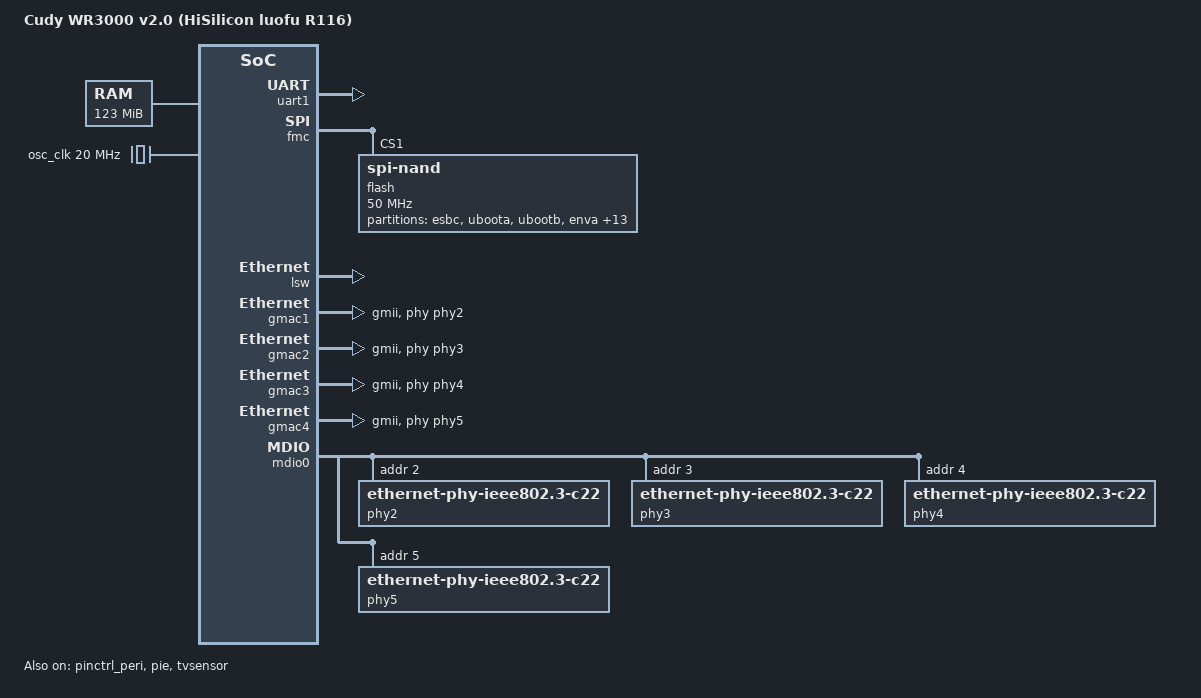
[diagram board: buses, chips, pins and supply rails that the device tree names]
// SPDX-License-Identifier: GPL-2.0-only
/*
 * luofu-r116.dts - DRAFT device tree for the Cudy WR3000 v2.0
 * (HiSilicon Hi5671Y "luofu", board R116).
 *
 * STATUS: UNTESTED / SCHEMATIC / NOT A WORKING TARGET.
 *
 * This file is a DRAFT derived from the tracked lab DTS
 * (tools/lab-src/arch/arm/boot/dts/luofu-r116.dts in the parent repository).
 * Every register base, interrupt number, clock/reset cell and partition below
 * is a lab-measured value (or an explicitly marked vendor-DT fact), not an
 * invented one. The board now has draft drivers and YAML bindings for the CRG
 * clock/reset controller, the watchdog, the FMC SPI-NAND controller, the
 * network trio (MDIO bus, Genius PHY, partial GEMAC) and machine restart
 * (patches-6.18/004-015); every other proposed binding still does not exist.
 * The GEMAC driver is a resource/validation half only - it has no data path -
 * so its nodes stay disabled, and the restart driver's reset command is
 * PROVISIONAL (see its node). Do not submit this file as-is.
 *
 * HOW TO READ THE MARKERS:
 *   TODO(binding)        a devicetree binding that must be written/agreed
 *                        before this node is submittable.
 *   TODO(driver)         code that must exist for the node to be meaningful.
 *   NEEDS-VERIFICATION   a value taken from the lab tree whose meaning is not
 *                        confirmed against the board/upstream binding.
 *   [U]                  "unverified/open" per TARGET-DESIGN.md reading legend.
 *
 * WHAT WAS DELIBERATELY CHANGED FROM THE LAB DTS:
 *   - the bench-only "lab" partition is gone; the stock 0x1d80000 "upgrade"
 *     size is restored (TARGET-DESIGN.md 3.3; vendor-dt-notes.md section 6);
 *   - bench breadcrumb/instrumentation comments and sysctrl writes are gone
 *     (TARGET-DESIGN.md 7.2);
 *   - vendor "hsan,*" compatibles are replaced with "hisilicon,luofu-*";
 *     the CRG and watchdog bindings are now written, the rest are still
 *     proposals with a binding TODO (TARGET-DESIGN.md 6.2);
 *   - the vendor iATU tables, acp-gate cells and other binary-derived props
 *     are not carried: they become driver init data (TARGET-DESIGN.md 6.2);
 *   - the vendor enable-method "hisilicon,hsan_smp" is removed: there is no
 *     mainline smp_ops yet, so this is an UP-only draft (TARGET-DESIGN.md 7.1);
 *   - clock/reset specifiers keep the lab shape (1-cell clock id, 2-cell
 *     (offset, bit) reset); the clock IDs now come from the dt-bindings
 *     header and the 2-cell reset form is documented in the CRG binding, with
 *     the named-reset-id table still a TODO (TARGET-DESIGN.md 6.2);
 *   - the 0x14880000 page is one syscon + simple-mfd system-controller node:
 *     the CRG driver owns the clock/reset providers and the watchdog is a
 *     child using the shared regmap, instead of two nodes claiming the same
 *     MMIO window (the old drift produced the duplicate-unit-address dtc
 *     warning and an -EBUSY probe in the lab tree).
 *
 * WHAT IS NOT HERE ON PURPOSE:
 *   - Wi-Fi (Hi5622V100): vendor-only, no open driver, out of the first
 *     submission scope (TARGET-DESIGN.md 8.3);
 *   - LEDs / keys: only overlay evidence exists; they need the standard
 *     gpio-leds/gpio-keys-polled bindings plus confirmed GPIO polarity
 *     (see the comment near the end of the root node);
 *   - sysctrl/sysenv boot-selector provider: the SYSCTRL syscon node from
 *     patch 010 plus the boot-selector driver/node from patch 017, which
 *     exposes the measured 0x10 (A) / 0x11 (B) cell through current_pair /
 *     next_pair sysfs and keeps probe free of register access. The rest of
 *     the protocol is still [U] (TARGET-DESIGN.md 3.4, 6.2, 7.1) and the
 *     vendor sysenv/nvmem interface is not modelled.  The only nvmem provider
 *     is the stock MTD partition provider over the bdinfo factory MAC
 *     (fixed-layout/mac-base cell; see the partition table and the GEMAC
 *     address plan below).
 *
 * Expected to parse after the C preprocessor + dtc, but it does NOT build in a
 * kernel tree (no headers, no machine match, no dtbs_check clean run) and it
 * has never been booted. Provenance of the facts: TARGET-DESIGN.md sections
 * 3 and 6, opensource/docs/soc/vendor-dt-notes.md, and the lab DTS itself.
 */

/dts-v1/;

/*
 * CRG clock IDs: the one-cell clock index ABI between this DTS and the CRG
 * clock provider (patches-6.18/004; binding
 * Documentation/devicetree/bindings/clock/hisilicon,luofu-crg.yaml). The
 * numbering is fixed by the dt-bindings header and the driver's gate table is
 * indexed by it; an index may never be renumbered or reused.
 *
 * The (register offset, bit) geometry that each ID names is driver data, not
 * DT data. It is listed here only as a review reference; the driver's table in
 * drivers/clk/hisilicon/crg-luofu.c is authoritative. The 0x14-group offsets
 * are verbatim from the pinned vendor tree; the 0x20-group offsets are
 * reconstructed from the vendor unit-address encoding and stay PROVISIONAL
 * until bench-confirmed (lab DTS header; clocks2.md caveat) - that is a driver
 * TODO, not a DT fact:
 *
 *   id  name         gate offset  bit
 *    0  sfc_clk      0x14         0x00
 *    1  gpio0_clk    0x14         0x14
 *    2  gpio1_clk    0x14         0x15
 *    3  i2c0_clk     0x14         0x18
 *    4  pcie0_clk    0x20         0x0c
 *    5  pcie1_clk    0x20         0x0d
 *    6  gemac_clk0   0x20         0x13
 *    7  led_pwm      0x14         0x0e
 *    8  lsw_dp_clk0  0x20         0x00
 *    9  lsw_pfe_clk0 0x20         0x01
 *   10  mdio_clk0    0x20         0x03
 *   11  gemac_clk1   0x20         0x14
 *   12  gemac_clk2   0x20         0x15
 *   13  gemac_clk3   0x20         0x16
 *   14  gemac_clk4   0x20         0x17
 *   15  pie_clk0     0x20         0x19
 *
 * Indices 16-19 are the CRG's own read-only PLL and mux outputs added by patch
 * 019 (LUOFU_CLK_PLL_CPU 16, LUOFU_CLK_PLL_LSW 17, LUOFU_CLK_CPU_MUX 18,
 * LUOFU_CLK_EFUSE_MUX 19). No node consumes them yet; they exist so a future
 * cpufreq or efuse-programming driver can reference the decoded clocks without
 * a second provider. This tree never writes a PLL or switches a mux.
 */
#include <dt-bindings/clock/hisilicon,luofu-crg.h>

/ {
	#address-cells = <1>;
	#size-cells = <1>;

	model = "Cudy WR3000 v2.0 (HiSilicon luofu R116)";

	/*
	 * TODO(compat): an upstream board compatible should carry a
	 * vendor,model string first (e.g. "cudy,wr3000-v2"). This draft keeps
	 * the lab strings because the final order interacts with OpenWrt's
	 * board_name/sysupgrade match (README "Open questions"). The stock
	 * loader passes its OWN DT to the kernel, so this string does not
	 * decide the stock-loader boot on this unit (TARGET-DESIGN.md 3.1);
	 * it does decide whether a future mainline kernel/machine matches.
	 */
	compatible = "hisilicon,luofu-r116", "hisilicon,luofu";
	interrupt-parent = <&gic>;

	aliases {
		/* physical console is uart1@1010f000 = ttyS0 (vendor-dt-notes.md 2) */
		serial0 = &uart1;
		serial1 = &uart0;
		/*
		 * TODO: the vendor tree also has aliases { console = <&uart1>; }.
		 * That property is not a standard alias; keep it out until the
		 * binding question is settled.
		 */
	};

	chosen {
		stdout-path = "serial0:115200n8";
		/*
		 * Kernel command line: the stock loader supplies NO bootargs for our
		 * uImage (first hardware boot, 2026-11-19: empty cmdline -> VFS root
		 * panic), and adding a DTB bootargs property crashed U-Boot itself
		 * (data abort before kernel hand-off). The root= string is therefore
		 * built into the kernel with CONFIG_CMDLINE_FORCE in
		 * target/linux/hisilicon/luofu/config-6.18; keep the two in sync.
		 * TODO(A/B): the hard-coded ubi.mtd=rootfsb must become per-slot
		 * (per-slot DTB or loader-supplied cmdline) before installing to A.
		 */
	};

	cpus {
		#address-cells = <1>;
		#size-cells = <0>;

		/*
		 * SMP release path, decoded from the vendor's private
		 * "hisilicon,hsan_smp" method (SYSCTRL pen word at 0xc00, CRG
		 * resume word at 0x38, then the wakeup IPI). TARGET-DESIGN.md
		 * 6.2 and 7.1; driver patches-6.18/018, evidence SMP-RE.md.
		 * A devicetree without this property boots UP.
		 */
		enable-method = "hisilicon,luofu-smp";

		cpu@0 {
			device_type = "cpu";
			compatible = "arm,cortex-a9";
			reg = <0>;
			/*
			 * TODO(driver): the vendor cpu@0 also carries clocks /
			 * cpu-supply / operating-points-v2 / nvmem-cells. Those
			 * need the CRG + efuse + pwm-regulator drivers/bindings;
			 * a fixed-rate CPU is acceptable for a first submission if
			 * documented (TARGET-DESIGN.md 6.2).
			 */
		};

		cpu@1 {
			device_type = "cpu";
			compatible = "arm,cortex-a9";
			reg = <1>;
		};
	};

	/*
	 * 128 MB DDR3 at 0x80500000 (vendor DT: reg = <0x80500000 0x7b00000>;
	 * 123 MB above the SoC window). NEEDS-VERIFICATION: the low 5 MB below
	 * 0x80500000 are the SoC/ACP view, not system DRAM (vendor-dt-notes.md 3).
	 */
	memory@80500000 {
		device_type = "memory";
		reg = <0x80500000 0x7b00000>;
	};

	/*
	 * TODO(reserved-memory): the vendor base DTB reserves a 16 KiB
	 * "flashinfo" window at 0x80600000 (the node name in the vendor tree
	 * says 0x80800000 - a stale name; the address is 0x80600000;
	 * phase42-decode/report.md section 2 and vendor-dt-notes.md 3).
	 * Whether the upstream kernel needs this reservation, and why the
	 * vendor U-Boot stages a bootram there, is [U]. Do not add a
	 * reserved-memory node until it is measured; an unneeded reserved
	 * region is a review finding, a missing one can corrupt firmware data.
	 */

	/* ---- fixed input clocks (free bindings) ------------------------- */

	osc_clk: fixed-clock-osc {
		compatible = "fixed-clock";
		#clock-cells = <0>;
		clock-frequency = <20000000>;	/* 20 MHz */
		clock-output-names = "osc";
	};

	ahb_clk: fixed-clock-ahb {
		compatible = "fixed-clock";
		#clock-cells = <0>;
		clock-frequency = <200000000>;	/* 200 MHz */
		clock-output-names = "ahb_clk";
	};

	apb_clk: fixed-clock-apb {
		compatible = "fixed-clock";
		#clock-cells = <0>;
		clock-frequency = <100000000>;	/* 100 MHz */
		clock-output-names = "apb_clk";
	};

	/*
	 * The four remaining fixed input clocks of the CRG tree, verbatim from
	 * the vendor devicetree fixed-clock nodes (pinned lines 955-961,
	 * 1090-1097 and 1108-1115). They are not programmable: gemacN_clk is
	 * the parent of the five GEMAC gate clocks and the MDIO gate,
	 * lsw_dp_clk/lsw_pfe_clk parent the internal-switch gate clocks, and
	 * efuse_ring_clk is one input of the efuse mux (the other is osc).
	 */
	gemacn_clk: fixed-clock-gemacn {
		compatible = "fixed-clock";
		#clock-cells = <0>;
		clock-frequency = <125000000>;	/* 125 MHz */
		clock-output-names = "gemacN_clk";
	};

	lsw_dp_clk: fixed-clock-lsw-dp {
		compatible = "fixed-clock";
		#clock-cells = <0>;
		clock-frequency = <166000000>;	/* 166 MHz */
		clock-output-names = "lsw_dp_clk";
	};

	lsw_pfe_clk: fixed-clock-lsw-pfe {
		compatible = "fixed-clock";
		#clock-cells = <0>;
		clock-frequency = <333000000>;	/* 333 MHz */
		clock-output-names = "lsw_pfe_clk";
	};

	efuse_ring_clk: fixed-clock-efuse-ring {
		compatible = "fixed-clock";
		#clock-cells = <0>;
		clock-frequency = <20000000>;	/* 20 MHz */
		clock-output-names = "efuse_ring_clk";
	};

	corrector_clk: fixed-clock-corrector {
		compatible = "fixed-clock";
		#clock-cells = <0>;
		clock-frequency = <1000000000>;	/* 1 GHz */
		clock-output-names = "corrector_clk";
	};

	twd_clk: twd-clock {
		compatible = "fixed-factor-clock";
		#clock-cells = <0>;
		clocks = <&corrector_clk>;
		clock-div = <4>;	/* 1 GHz / 4 = 250 MHz */
		clock-mult = <1>;
		clock-output-names = "twd_clk";
	};

	/* ---- SYSCTRL: boot selector + reset info (shared page) ---------- */

	/*
	 * The SYSCTRL page at 0x10100000 carries SoC-level control registers
	 * shared between functions. Only the minimum the written drivers need is
	 * modelled: the A/B boot-selector cell at 0xc08 that the stock loader
	 * reads on the next boot (the reboot driver saves it before a reset) and
	 * the reset-info record at 0xc10. The page must be a syscon so the reboot
	 * and boot-selector drivers share one mapping (TARGET-DESIGN.md 3.4,
	 * 6.2).
	 * Binding: Documentation/devicetree/bindings/soc/hisilicon/
	 *          hisilicon,luofu-sysctrl.yaml
	 * TODO(nvmem): the reset-info record has no reader yet; the boot-selector
	 * cell is exposed by the separate luofu-boot-selector node below.
	 */
	sysctrl: system-controller@10100000 {
		compatible = "hisilicon,luofu-sysctrl", "syscon";
		reg = <0x10100000 0x1000>;
	};

	/*
	 * Machine restart: saves the SYSCTRL A/B boot selector, issues the CRG
	 * software-reset command and falls back to the CRG watchdog if the reset
	 * does not take. Both target pages are shared, so the node only
	 * references the syscon nodes and has no reg.
	 * Binding: Documentation/devicetree/bindings/power/reset/
	 *          hisilicon,luofu-reboot.yaml
	 * PROVISIONAL: the CRG reset command pair (vendor softrst_val0/val1 at
	 * reboot-offset 0x00) is derived from the vendor devicetree and has never
	 * been run on hardware; the boot-selector encoding is measured. See
	 * patches-6.18/010 and docs/incoming/restart/SUMMARY.md.
	 */
	reboot {
		compatible = "hisilicon,luofu-reboot";
		hisilicon,sysctrl = <&sysctrl>;
		hisilicon,crg = <&crg>;
	};

	/*
	 * A/B boot selector: the SYSCTRL cell at 0xc08 that records the firmware
	 * pair. The bootloader selects the pair from its env bootflag (bootcmd
	 * reads kernel${bootflag}); its bootfip stores the opposite pair's low byte
	 * before Linux starts and userspace re-records the running pair after a
	 * successful boot. 0x10 = A pair recorded (kernela + rootfsa), 0x11 = B
	 * pair recorded (kernelb + rootfsb); 0x21 is the project's bench handover
	 * value (never written by vendor userspace) and is only reported, never
	 * written by the automated install path.
	 * Binding: Documentation/devicetree/bindings/soc/hisilicon/
	 *          hisilicon,luofu-boot-selector.yaml
	 * Probe performs no register access; the driver writes the cell only when
	 * userspace stores into next_pair, as a low-byte read-modify-write that
	 * preserves the upper 24 bits and verifies the read-back.
	 * Enabled because the A/B sysupgrade path (base-files/lib/upgrade/platform.sh)
	 * requires it; harmless on a boot
	 * that never touches the selector.
	 */
	boot-selector {
		compatible = "hisilicon,luofu-boot-selector";
		hisilicon,sysctrl = <&sysctrl>;
		hisilicon,selector-offset = <0x0c08>;
	};

	/* ---- CRG: clock gates + reset controller (shared page) --------- */

	/*
	 * The CRG (Clock Reset Generator) page at 0x14880000 carries the clock
	 * gate bits (0x14/0x20), the reset bits (0x2c/0x30/0x34) AND the
	 * watchdog registers (0x50/0x64/0x70/0x100) interleaved in ONE 4 KiB
	 * window, so no single driver can claim the window exclusively. The
	 * page is therefore modelled as a syscon + simple-mfd system
	 * controller:
	 *
	 *   - the CRG driver (patches-6.18/004; binding
	 *     Documentation/devicetree/bindings/clock/hisilicon,luofu-crg.yaml)
	 *     owns the clock-gate and reset providers;
	 *   - the watchdog child below (patches-6.18/005; binding
	 *     Documentation/devicetree/bindings/watchdog/hisilicon,luofu-wdt.yaml)
	 *     uses the same syscon regmap, so neither driver maps or claims the
	 *     page a second time. This is the upstream shape for interleaved
	 *     functions; the old two-node draft produced a duplicate-unit-
	 *     address dtc warning and, on the lab kernel, an -EBUSY probe that
	 *     was worked around with a bare devm_ioremap().
	 *
	 * Clock cells: one cell, the LUOFU_CLK_* index from the dt-bindings
	 * header (included above); the gate geometry is driver data.
	 *
	 * Clock tree (patch 019): the node's clocks/clock-names below describe the
	 * real parents the CRG driver wires, decoded from the vendor devicetree
	 * (MISC-SOC-BLOCKS.md 5.2): the 16 gates fan out from apb_clk, ahb_clk,
	 * gemacN_clk, lsw_dp_clk and lsw_pfe_clk; the two PLLs (control words at
	 * 0x198 and 0x1e0, status word 0x90) run from osc; the two muxes in
	 * 0x138 select the CPU PLL/lsw PLL (bit 3) and efuse_ring/osc (bit 1).
	 * The driver resolves these by name, it does not guess global clock names.
	 * The PLLs and muxes are READ-ONLY clocks in patch 019: recalc_rate plus
	 * the 0x90 status bit for the PLLs, get_parent for the muxes; there is no
	 * set_rate/set_parent. 0x138 bit 3 selects the CPU clock source and must
	 * never become writable; 0x138 bit 1 is only ever flipped by an efuse
	 * programming path, which this tree does not have.
	 *
	 * Reset cells: two cells, (CRG page register offset, bit). The driver
	 * restricts the offset to the three reset words so a specifier can never
	 * write the watchdog, soft-reset, mux or PLL words.
	 * TODO(reset-ids): replacing the raw (offset, bit) cells with a named
	 * reset-ID table is the next submission cleanup (TARGET-DESIGN.md 6.2);
	 * the cell form is documented in the binding, not invented.
	 * TODO(restart): the reset command is the CRG reboot register at 0x00
	 * (vendor reboot-offset; softrst_val0/1), not the 0x84 soft-reset word.
	 * Patch 010 implements it PROVISIONALLY in the hisilicon,luofu-reboot
	 * driver together with the SYSCTRL boot-selector save; the exact write
	 * order and whether the pair belongs in one register or two adjacent
	 * ones are unverified (TARGET-DESIGN.md 3.4, 6.2).
	 */
	crg: system-controller@14880000 {
		compatible = "hisilicon,luofu-crg", "syscon", "simple-mfd";
		reg = <0x14880000 0x1000>;
		#clock-cells = <1>;
		#reset-cells = <2>;
		clocks = <&osc_clk>, <&ahb_clk>, <&apb_clk>, <&gemacn_clk>,
			 <&lsw_dp_clk>, <&lsw_pfe_clk>, <&efuse_ring_clk>;
		clock-names = "osc", "ahb", "apb", "gemacN", "lsw_dp",
			      "lsw_pfe", "efuse_ring";

		/*
		 * Watchdog: no reg and no interrupt. Its registers are
		 * interleaved into the parent page, so it uses the parent syscon
		 * regmap (the binding requires this parent-child relationship).
		 * timeout-sec is the vendor's 30 s; the 1..512 s limits are
		 * driver data. The block does have an interrupt output at SPI 2
		 * in the vendor tree, but its status semantics are unverified,
		 * so the driver is polled and the node claims no interrupt - do
		 * not add one "because the vendor DT has it".
		 * TODO(hardware): whether the bootloader leaves the watchdog
		 * running is not established (the enable state is a magic value
		 * pair, not a status bit), so the driver cannot set
		 * WDOG_HW_RUNNING at probe; measure before relying on it.
		 */
		watchdog {
			compatible = "hisilicon,luofu-wdt";
			timeout-sec = <30>;
			status = "okay";
		};
	};

	/* ---- standard ARM peripherals (free bindings) ------------------ */

	gic: interrupt-controller@10181000 {
		compatible = "arm,cortex-a9-gic";
		#interrupt-cells = <3>;
		interrupt-controller;
		reg = <0x10181000 0x1000>,	/* distributor */
		      <0x10180100 0x100>;	/* CPU interface */
	};

	scu@10180000 {
		compatible = "arm,cortex-a9-scu";
		reg = <0x10180000 0x1000>;
	};

	/*
	 * NEEDS-VERIFICATION: the lab DTS carries vendor l2c_aux_val = 0x430001,
	 * l2c_aux_mask = 0xffb0fffe and cache-way-size-sel = 1 as vendor DT
	 * props. In mainline these become the machine descriptor's
	 * l2c_aux_val/l2c_aux_mask (arch/arm/kernel/irq.c only calls
	 * l2x0_of_init() when one is non-zero) and the AUX fields are derived
	 * from arm,tag-latency / arm,data-latency - translate before adding any
	 * latency property here.
	 */
	L2: l2-cache@7f000000 {
		compatible = "arm,pl310-cache";
		reg = <0x7f000000 0x1000>;
		cache-level = <2>;
		cache-unified;
	};

	local_timer: local-timer@10180600 {
		compatible = "arm,cortex-a9-twd-timer";
		reg = <0x10180600 0x20>;
		interrupts = <1 13 0x301>;	/* PPI 13 (mainline encoding) */
		clocks = <&twd_clk>;
	};

	/*
	 * Cortex-A9 has no ARM architected timer; the TWD above is the per-CPU
	 * timer source. There is no arm,armv7-timer node on this SoC.
	 */

	/*
	 * NEEDS-VERIFICATION: the vendor value is <1 0x2f 4> (cell 0x2f = 47),
	 * but mainline GIC PPI cells are 0..15 (Linux maps them to INTIDs
	 * 16+n). Do not trust this as a PPI 47; re-derive it from the vendor
	 * driver or the schematic before the node is used. It only matters if
	 * the SP804 is kept as a timer source; the board uses the TWD.
	 */
	timer@10104000 {
		compatible = "arm,sp804";
		reg = <0x10104000 0x1000>;
		interrupts = <1 0x2f 4>;
		clocks = <&apb_clk>;
	};

	/* ---- DesignWare peripherals (free bindings) -------------------- */

	uart0: serial@1010e000 {
		compatible = "snps,dw-apb-uart";
		reg = <0x1010e000 0x1000>;
		reg-shift = <2>;
		interrupts = <0 0x2d 4>;	/* SPI 45 in the vendor numbering */
		clocks = <&apb_clk>;
		clock-names = "apb_pclk";
		status = "disabled";
	};

	uart1: serial@1010f000 {
		compatible = "snps,dw-apb-uart";
		reg = <0x1010f000 0x1000>;
		reg-shift = <2>;
		interrupts = <0 0x2e 4>;	/* SPI 46 */
		clocks = <&apb_clk>;
		clock-names = "apb_pclk";
		status = "okay";		/* physical console ttyS0 */
	};

	gpio0: gpio@10106000 {
		compatible = "snps,dw-apb-gpio";
		#address-cells = <1>;
		#size-cells = <0>;
		reg = <0x10106000 0x1000>;
		clocks = <&crg LUOFU_CLK_GPIO0>;
		/*
		 * TODO(reset-binding): vendor cells (0x2c, 0x14); the reset
		 * provider shape is not agreed yet.
		 */

		porta: gpio-port@0 {
			compatible = "snps,dw-apb-gpio-port";
			gpio-controller;
			#gpio-cells = <2>;
			interrupt-controller;
			#interrupt-cells = <2>;
			interrupt-parent = <&gic>;
			interrupts = <0 0x31 4>;	/* SPI 49 */
			reg = <0>;
			snps,nr-gpios = <32>;
		};
	};

	gpio1: gpio@10107000 {
		compatible = "snps,dw-apb-gpio";
		#address-cells = <1>;
		#size-cells = <0>;
		reg = <0x10107000 0x1000>;
		clocks = <&crg LUOFU_CLK_GPIO1>;
		/* TODO(reset-binding): vendor cells (0x2c, 0x15) */

		portb: gpio-port@0 {
			compatible = "snps,dw-apb-gpio-port";
			gpio-controller;
			#gpio-cells = <2>;
			interrupt-controller;
			#interrupt-cells = <2>;
			interrupt-parent = <&gic>;
			interrupts = <0 0x32 4>;	/* SPI 50 */
			reg = <0>;
			snps,nr-gpios = <5>;
		};
	};

	i2c0: i2c@10111000 {
		compatible = "snps,designware-i2c";
		reg = <0x10111000 0x1000>;
		interrupts = <0 0x2c 4>;	/* SPI 44 */
		clocks = <&crg LUOFU_CLK_I2C0>;
		clock-frequency = <100000>;
		/* TODO(reset-binding): vendor cells (0x2c, 0x18) */
		status = "disabled";
	};

	/* ---- vendor-specific blocks: placeholders, no binding ---------- */

	/*
	 * Peripheral pinctrl + IOMUX. Binding:
	 * Documentation/devicetree/bindings/pinctrl/hisilicon,luofu-pinctrl.yaml
	 * and driver drivers/pinctrl/hisilicon/pinctrl-luofu.c (patch 011).
	 * The block owns the mux window (the function-select bits of all pins)
	 * and the per-pin configuration window. The tables (37 pins / 24 groups
	 * / 24 functions) are the ones the vendor pin controller uses; enabling
	 * this block was required for the wired path to behave, and a disabled
	 * node here does NOT mean the hardware does not need it.
	 *
	 * Probe performs no register access: the vendor's probe-time pin state
	 * is not known and the bootloader has already configured the pins, so a
	 * pin state is only programmed when a consumer requests one through the
	 * standard pinctrl interface.
	 * TODO(consumers): no pinctrl state is attached to any device node yet.
	 * The vendor devicetree attaches none to its device nodes either (its
	 * state nodes are looked up by name from its modules), and which groups
	 * the MDIO/GEMAC/FMC/UART nodes must select is unverified; do not add
	 * consumer states before that is established. The transcribed mux table
	 * does contain the mdio1 (pins 10/11) and rgmii0 (pins 12-23) functions
	 * that the wired path needs.
	 * TODO(pinconf): the six pin configuration parameters the block
	 * implements are supported by the driver, but no state uses the generic
	 * pin configuration properties yet and the drive-strength field has no
	 * known mA mapping.
	 */
	pinctrl_peri: pinctrl@14900100 {
		compatible = "hisilicon,luofu-pinctrl";
		reg = <0x14900100 0x3c>,	/* mux window */
		      <0x14940000 0x100>;	/* cfg window */
		reg-names = "mux", "cfg";
		status = "okay";
	};

	/*
	 * FMC / SPI-NAND controller. The controller is a SPI-MEM controller
	 * (TARGET-DESIGN.md 6.2; opensource/docs/phase50/nand-fmc-port-spec.md
	 * section (f)), so this node is a SPI bus and the flash die is its
	 * spi-nand child. The mainline SPI-NAND stack then owns chip detection,
	 * on-die ECC, OOB layout, bad-block handling and the partition table;
	 * the controller driver is patches-6.18/006 (drivers/spi/spi-luofu-fmc.c).
	 * The binding replaces the lab driver's vendor props:
	 *   - bus_id = "fmc"      -> nothing (the node and its binding);
	 *   - spi_cs = <1>        -> the child's reg = <1>;
	 *   - enable-quad-mode    -> spi-tx/rx-bus-width = <4>. The die's quad
	 *                           enable bit is set by the bootloader, which
	 *                           reads this flash in quad mode; the mainline
	 *                           ESMT entry has no QE quirk, so a die reset
	 *                           performed by Linux is a bring-up question.
	 * Facts kept: register file at 0x10a20000 + 1 MiB data window at
	 * 0x1c000000, chip-select 1, quad mode, 2048-byte pages / 64-byte OOB /
	 * 128 KiB erase blocks (TARGET-DESIGN.md 2). The sfc_clk gate is the
	 * LUOFU_CLK_SFC ID from patch 004; sfc_rst is the CRG two-cell reset
	 * specifier (offset 0x2c, bit 0), which the CRG binding and driver
	 * range-check to the reset words.
	 * TODO(hw): spi-max-frequency is informational only - the driver does not
	 * program the SPI clock and the bootloader leaves the FMC timing
	 * registers configured; the value is a conservative placeholder.
	 * TODO(hw): the FMC ECC engine semantics (host ECC vs on-die
	 * pass-through), the OOB bytes the DMA engine returns, and whether a
	 * Linux die reset clears the die's quad-enable bit are unverified; see
	 * docs/port-notes/fmc/SUMMARY.md.
	 */
	fmc: spi@10a20000 {
		compatible = "hisilicon,luofu-fmc";
		reg = <0x10a20000 0x1000>,	/* register file */
		      <0x1c000000 0x100000>;	/* memory-mapped data window */
		reg-names = "regs", "window";
		clocks = <&crg LUOFU_CLK_SFC>;
		clock-names = "sfc_clk";
		resets = <&crg 0x2c 0x0>;	/* sfc_rst: CRG 0x2c bit 0 */
		reset-names = "sfc_rst";
		#address-cells = <1>;
		#size-cells = <0>;
		status = "okay";

		flash@1 {
			compatible = "spi-nand";
			reg = <1>;			/* chip-select 1 */
			spi-max-frequency = <50000000>;	/* TODO(hw): informational */
			spi-tx-bus-width = <4>;
			spi-rx-bus-width = <4>;

			/*
			 * Stock 17-partition A/B table, verbatim from the vendor base
			 * DTB (vendor-dt-notes.md 6). Total NAND 0x8000000 = 128 MB.
			 * The lab "lab" partition is deliberately NOT here; the vendor
			 * upgrade partition keeps its stock 0x1d80000 size
			 * (TARGET-DESIGN.md 3.3).
			 * TODO(binding): review "read-only" flags for partitions OpenWrt
			 * must never write; the env partitions are written by the
			 * measured slot switch, so they are not read-only in this draft.
			 * TODO(binding): enva/envb are the U-Boot environment blocks; the
			 * u-boot,env representation and its format compatibility are [U]
			 * (TARGET-DESIGN.md 6.2).
			 */
			partitions {
				compatible = "fixed-partitions";
				#address-cells = <1>;
				#size-cells = <1>;

				partition@0	{ label = "esbc";	reg = <0x0 0x40000>; };
				partition@40000	{ label = "uboota";	reg = <0x40000 0x100000>; };
				partition@140000 { label = "ubootb";	reg = <0x140000 0x100000>; };
				partition@240000 { label = "enva";	reg = <0x240000 0x40000>; };
				partition@280000 { label = "envb";	reg = <0x280000 0x40000>; };
				partition@2c0000 { label = "fac";	reg = <0x2c0000 0x200000>; };
				/*
				 * bdinfo: encrypted vendor key/value text (container header at
				 * +0, encrypted text from +4) plus the one plaintext factory-MAC
				 * copy at +0xde00, last non-0xff byte +0xde05
				 * (MISC-SOC-BLOCKS.md 1.1; values withheld).  The partition is
				 * read-only in this target: nothing writes factory data, and both
				 * readers are read-only (userspace luofu-mac.sh and the kernel
				 * nvmem cell below).
				 *
				 * The nvmem layout is the fixed-layout/mac-base pair, so no
				 * target-local driver is needed:
				 *   - vanilla 6.18.60 already registers an nvmem provider for
				 *     every MTD device (mtd_nvmem_add() in
				 *     drivers/mtd/mtdcore.c: read-only and root-only by
				 *     construction, reg_read -> mtd_read) and parses the
				 *     nvmem-layout container (#nvmem-cell-cells via
				 *     of_nvmem_cell_get);
				 *   - the mac-base cell arithmetic (index -> eth_addr_add())
				 *     reaches this 6.18 tree through OpenWrt's generic
				 *     carried backports of upstream commits
				 *     (target/linux/generic/pending-6.18/
				 *     804-nvmem-core-support-mac-base-fixed-layout-cells.patch
				 *     and 809-01-nvmem-core-generalize-mac-base-cells-handling
				 *     .patch).  Without them the cell would read raw bytes and
				 *     the per-port offset would not be applied.
				 * A consumer writes nvmem-cells = <&bdinfo_mac N> and gets
				 * base+N.  If this partition node is absent from a DTB, the
				 * phandle does not resolve: of_get_mac_address() then reports
				 * -ENOENT and the GEMAC driver falls back to a logged random
				 * address, so no consumer ever invents factory data.
				 */
				partition@4c0000 {
					label = "bdinfo";
					reg = <0x4c0000 0x40000>;
					read-only;

					nvmem-layout {
						compatible = "fixed-layout";
						#address-cells = <1>;
						#size-cells = <1>;

						bdinfo_mac: mac@de00 {
							compatible = "mac-base";
							reg = <0xde00 0x6>;
							#nvmem-cell-cells = <1>;
						};
					};
				};
				partition@500000 { label = "cfga";	reg = <0x500000 0x200000>; };
				partition@700000 { label = "cfgb";	reg = <0x700000 0x200000>; };
				partition@900000 { label = "log";	reg = <0x900000 0x440000>; };
				partition@d40000 { label = "pstore";	reg = <0xd40000 0x40000>; };
				partition@d80000 { label = "kernela";	reg = <0xd80000 0x840000>; };
				partition@15c0000 { label = "kernelb";	reg = <0x15c0000 0x840000>; };
				partition@1e00000 { label = "rootfsa";	reg = <0x1e00000 0x1740000>; };
				partition@3540000 { label = "rootfsb";	reg = <0x3540000 0x1740000>; };
				partition@4c80000 { label = "rootfs_data"; reg = <0x4c80000 0x1600000>; };
				partition@6280000 { label = "upgrade";	reg = <0x6280000 0x1d80000>; };
			};
		};
	};

	/*
	 * Internal LSW switch: binding
	 * Documentation/devicetree/bindings/net/hisilicon,luofu-switch.yaml
	 * (patches 016/021). One switch with 15 MMIO windows - the five
	 * queue-manager windows (dp/ips/fam/eqm/eps) and the ten
	 * classifier/forwarding windows (prbs/pfe_glb/pa/ifc/l2/napt/mcc/opp/
	 * pub/pe) that the vendor tree describes as two separate nodes - plus the
	 * two DDR regions the engine consumes:
	 *
	 *   queue  0x80000000  4 MiB
	 *   flow   0x80400000  1 MiB
	 *
	 * Those two bases are the measured live post-loader-fixup values
	 * (read-only inventory 2026-11-18, LSW-SPEC.md 5.4); the vendor base DT
	 * says 0x87b00000/0x87f00000 and its U-Boot overlay rebases them.  Our
	 * loader-match overlay is a no-op, so this base DTB has to carry the final
	 * values itself.  The regions lie below the kernel memory node
	 * (0x80500000), so Linux never maps them as RAM; the driver validates the
	 * base/size and never ioremaps them.  The layout inside the regions is
	 * unknown.
	 *
	 * The in-tree driver (patches 021/022) has two paths.  By default it is
	 * the READ-ONLY baseline probe: it validates these resources, the port
	 * model, the two CRG port_bitmap cells and - only when the block is
	 * already clocked and out of reset - the measured register baseline and
	 * the two qid maps, then refuses (-EOPNOTSUPP) without writing anything.
	 * With the explicit attended luofu_lsw.arm=1 (W3: enable the two gate
	 * clocks and release the four resets, then read) and
	 * luofu_lsw.qidmap=1 (W4/W5: program and verify the D1b W2 qid-map write
	 * set) module parameters it programs the egress map that the GEMAC
	 * front end requires before it registers a netdev.  Neither write has
	 * ever run on hardware; the node is enabled so an attended boot can
	 * reach the gates, and a normal boot stops in the read-only path.  An
	 * access to an unknown register in this block can cut the CPU/console
	 * path on a board with no validated restart, which is why every write is
	 * gated and limited to the reviewed W2 write set.
	 *
	 * The port children are the switchdev model (not DSA): each wired port is
	 * a netdev owned by its GEMAC node and the switch port names it with the
	 * "ethernet" phandle.  The port index (reg) is a devicetree ordering index
	 * only; the measured hardware port number is given by "hisilicon,port"
	 * (the vendor devicetree's GEMAC port cells: 9..12 for the four live
	 * MACs) and the driver validates it against the populated qid rows.  The
	 * GEMAC<->PHY mapping is the measured one (14380000 -> phy2/eth0,
	 * 14400000 -> phy3/eth1, 14480000 -> phy4/eth2 (the bench cable port),
	 * 14500000 -> phy5/eth3).  gmac0 is unused by the vendor and is not a
	 * switch port here.
	 */
	lsw: ethernet-switch@11000000 {
		compatible = "hisilicon,luofu-switch";
		reg = <0x80000000 0x400000>,	/* queue: DDR, validated not mapped */
		      <0x80400000 0x100000>,	/* flow: DDR, validated not mapped */
		      <0x11000000 0x80000>,	/* dp */
		      <0x11080000 0x80000>,	/* ips */
		      <0x11100000 0x80000>,	/* fam */
		      <0x11180000 0x80000>,	/* pe */
		      <0x11200000 0x80000>,	/* eqm */
		      <0x11280000 0x80000>,	/* eps */
		      <0x11380000 0x80000>,	/* prbs */
		      <0x12000000 0x80000>,	/* pfe_glb */
		      <0x12080000 0x80000>,	/* pa */
		      <0x12100000 0x80000>,	/* ifc */
		      <0x12180000 0x80000>,	/* l2 */
		      <0x12280000 0x80000>,	/* napt */
		      <0x12380000 0x80000>,	/* mcc */
		      <0x12400000 0x80000>,	/* opp */
		      <0x12480000 0x80000>;	/* pub */
		reg-names = "queue", "flow", "dp", "ips", "fam", "pe", "eqm",
			    "eps", "prbs", "pfe_glb", "pa", "ifc", "l2", "napt",
			    "mcc", "opp", "pub";
		clocks = <&crg LUOFU_CLK_LSW_DP>, <&crg LUOFU_CLK_LSW_PFE>;
		clock-names = "lsw_dp_clk", "lsw_pfe_clk";
		resets = <&crg 0x30 0x0>, <&crg 0x30 0x1>,
			 <&crg 0x30 0x3>, <&crg 0x30 0x4>;
		reset-names = "dp_logic", "dp_srst", "pfe_logic", "pfe_srst";
		hisilicon,crg = <&crg>;
		/* measured live value, vendor cell order; semantics unknown */
		hisilicon,port-bitmap = <0xf01 0x1ff0>;
		status = "okay";

		ethernet-ports {
			#address-cells = <1>;
			#size-cells = <0>;

			ethernet-port@0 {
				reg = <0>;		/* ordering index, not a hw id */
				hisilicon,port = <9>;	/* measured MAC port */
				ethernet = <&gmac1>;	/* eth0 */
			};

			ethernet-port@1 {
				reg = <1>;
				hisilicon,port = <10>;
				ethernet = <&gmac2>;	/* eth1 */
			};

			ethernet-port@2 {
				reg = <2>;
				hisilicon,port = <11>;
				ethernet = <&gmac3>;	/* eth2, the bench cable port */
			};

			ethernet-port@3 {
				reg = <3>;
				hisilicon,port = <12>;
				ethernet = <&gmac4>;	/* eth3 */
			};
		};
	};

	lsw_woe: woe {
		compatible = "hisilicon,luofu-lsw-woe";	/* TODO(binding) */
		dma-coherent;
		interrupts = <0 0x54 4>,	/* SPI 84 (vendor numbering) */
			     <0 0x53 4>,	/* SPI 83 */
			     <0 0x52 4>,	/* SPI 82 */
			     <0 0x51 4>,	/* SPI 81 */
			     <0 0x50 4>;	/* SPI 80 */
		interrupt-names = "band0_comp_irq", "band1_comp_irq",
				  "band2_comp_irq", "band0_txba", "band1_txba";
		status = "disabled";
	};

	/*
	 * PIE packet engine: binding
	 * Documentation/devicetree/bindings/net/hisilicon,luofu-pie.yaml
	 * (patch 015, extended by patch 020). The in-tree driver is a DRAFT
	 * ring engine: the register/channel model was measured by the
	 * 2026-11-18 read-only inventory and the coherent rings, channel
	 * initialization, interrupt/NAPI receive path and TX producer are
	 * implemented, but the RX completion decode is still unknown and the
	 * engine is only started by an explicit "luofu_pie.arm=1" opt-in.  The
	 * node is enabled so the attended boot can reach that gate; a normal
	 * boot validates the resources and refuses without touching the block.
	 * The first write to this block is a bench event, and the board has no
	 * validated restart path.  The GEMAC netdev front end (patch 023) only
	 * registers when this engine is armed and the switch egress map is
	 * ready.
	 *
	 * The four interrupts are the four recovered per-vector lines; each
	 * vector serves the channel pair named by interrupt-names (channels
	 * 4-7 are the Wi-Fi offload half and are not wired into this driver).
	 * The ring tables are the measured live board configuration: two RX
	 * channels of log2(256) descriptors with 1536-byte buffers and two TX
	 * channels of log2(4096) descriptors (2026-11-18 follow-up readback of
	 * the vendor's post-overlay node).
	 */
	pie: pie@10a70000 {
		compatible = "hisilicon,luofu-pie";
		reg = <0x10a70000 0x10000>;
		interrupts = <0 0x58 4>, <0 0x59 4>, <0 0x5a 4>, <0 0x5b 4>;
		interrupt-names = "ch0-7", "ch1-6", "ch2-5", "ch3-4";
		clocks = <&crg LUOFU_CLK_PIE>;
		resets = <&crg 0x30 0x19>;
		dma-coherent;
		hisilicon,rx-ring = <0x8 0x600 0x8 0x600>;
		hisilicon,tx-ring = <0xc 0x2>;
		status = "okay";
	};

	/* ---- Ethernet: five gigabit MACs + MDIO + internal switch -------- */

	/*
	 * GEMAC: binding
	 * Documentation/devicetree/bindings/net/hisilicon,luofu-gmac.yaml
	 * (patch 009, netdev/phylink glue added by patch 020, connectivity
	 * readiness added by patch 023). The in-tree driver is a DRAFT: the
	 * MAC owns the net_device and phylink front end (PHYLINK_NETDEV, so
	 * the phylink resolve work drives the carrier) and forwards its
	 * transmit path to the PIE packet engine.  It only registers a netdev
	 * after the PIE backend has armed its data path AND the internal switch
	 * has programmed and verified its egress qid map (patch 022); a debug
	 * boot without those parameters logs the refusal and registers
	 * nothing.  Only the measured 1 Gbps link-up/link-down MAC words are
	 * written (TARGET-DESIGN.md 7.1) and the netdev address comes from the
	 * standard MAC-address properties or a random fallback.
	 * The bind keeps the lab shape plus the two CRG reset lines.
	 * NEEDS-VERIFICATION: the gmac0..4 -> mdio phy mapping below is the
	 * vendor runtime mapping (14380000 -> mdio addr 2, 14400000 -> 3,
	 * 14480000 -> 4 (the wired jack on the bench unit), 14500000 -> 5;
	 * TARGET-DESIGN.md 6.2). The vendor does not use gmac0 at all; do not
	 * enable it (a second MAC on phy2 would be wrong).
	 *
	 * MAC address plan (per-port offsets).  The factory base MAC is the
	 * plaintext 6-byte copy at bdinfo+0xde00, exposed by the mac-base nvmem
	 * cell in the bdinfo partition as base+<cell argument>.  The vendor rule
	 * is LAN = base MAC and WAN = base+1 (rootfs-2.4.15/etc/board.d/
	 * 02_network:25-29; uci-defaults/99_fixwan:17-52), and the vendor applies
	 * the SAME LAN base address to every LAN device (eth0/eth1/eth2), so
	 * gmac1..gmac3 (LAN) use offset 0 and gmac4 (eth3, WAN) uses offset 1.
	 * There is no per-jack offset rule in any vendor script: do not invent
	 * one.  The GEMAC ports are internal-switch MAC ports 9..12
	 * (LSW-SPEC.md 6.1), i.e. the userspace LAN/WAN map is eth0/eth1/eth2
	 * (switch ports 9/10/11) plus eth3 (port 12), matching the vendor
	 * board.d and base-files/etc/board.d/02_network.
	 *
	 * Arithmetic note: the kernel mac-base post-processing uses the 48-bit
	 * eth_addr_add(), while the userspace macaddr_add() preserves the OUI
	 * and increments only the low 24 bits.  They agree for every base the
	 * provisioner accepts (it rejects ...:ff:ff:ff, the only case where the
	 * two differ); the userspace validator stays the stricter authority.
	 * Unmeasured [U]: whether the MTD partition/nvmem provider is registered
	 * before the GEMAC probes on real hardware - if it is not, the driver
	 * defers probe (patch 026) rather than randomising.
	 */
	gmac0: ethernet@14300000 {
		compatible = "hisilicon,luofu-gmac";
		reg = <0x14300000 0x10000>;
		hisilicon,port = <0x8>;
		phy-mode = "rgmii";
		phy-handle = <&phy2>;
		clocks = <&crg LUOFU_CLK_GMAC0>;
		resets = <&crg 0x30 0xd>, <&crg 0x30 0xe>;
		reset-names = "mac-logic", "mac";
		status = "disabled";
	};

	gmac1: ethernet@14380000 {
		compatible = "hisilicon,luofu-gmac";
		reg = <0x14380000 0x10000>;
		hisilicon,port = <0x9>;
		phy-mode = "gmii";
		phy-handle = <&phy2>;
		/* factory MAC: LAN 0 (see the address plan above) */
		nvmem-cells = <&bdinfo_mac 0>;
		nvmem-cell-names = "mac-address";
		clocks = <&crg LUOFU_CLK_GMAC1>;
		resets = <&crg 0x30 0xf>, <&crg 0x30 0x10>;
		reset-names = "mac-logic", "mac";
		status = "okay";
	};

	gmac2: ethernet@14400000 {
		compatible = "hisilicon,luofu-gmac";
		reg = <0x14400000 0x10000>;
		hisilicon,port = <0xa>;
		phy-mode = "gmii";
		phy-handle = <&phy3>;
		/* factory MAC: LAN 0 (see the address plan above) */
		nvmem-cells = <&bdinfo_mac 0>;
		nvmem-cell-names = "mac-address";
		clocks = <&crg LUOFU_CLK_GMAC2>;
		resets = <&crg 0x30 0x11>, <&crg 0x30 0x12>;
		reset-names = "mac-logic", "mac";
		status = "okay";
	};

	gmac3: ethernet@14480000 {
		compatible = "hisilicon,luofu-gmac";
		reg = <0x14480000 0x10000>;
		hisilicon,port = <0xb>;
		phy-mode = "gmii";
		phy-handle = <&phy4>;	/* bench-measured cable port (gmac3) */
		/* factory MAC: LAN 0 (see the address plan above) */
		nvmem-cells = <&bdinfo_mac 0>;
		nvmem-cell-names = "mac-address";
		clocks = <&crg LUOFU_CLK_GMAC3>;
		resets = <&crg 0x30 0x13>, <&crg 0x30 0x14>;
		reset-names = "mac-logic", "mac";
		status = "okay";
	};

	gmac4: ethernet@14500000 {
		compatible = "hisilicon,luofu-gmac";
		reg = <0x14500000 0x10000>;
		hisilicon,port = <0xc>;
		phy-mode = "gmii";
		phy-handle = <&phy5>;
		/* factory MAC: WAN = base+1 (see the address plan above) */
		nvmem-cells = <&bdinfo_mac 1>;
		nvmem-cell-names = "mac-address";
		clocks = <&crg LUOFU_CLK_GMAC4>;
		resets = <&crg 0x30 0x15>, <&crg 0x30 0x16>;
		reset-names = "mac-logic", "mac";
		status = "okay";
	};

	/*
	 * MDIO bus controller: binding
	 * Documentation/devicetree/bindings/net/hisilicon,luofu-mdio.yaml
	 * (patch 007), driver drivers/net/mdio/mdio-luofu.c. The PHY children
	 * stay standard ethernet-phy-ieee802.3-c22 nodes: the Genius PHY (ID
	 * 0x20669a00, mask 0xffffff00) binds through its PHY ID (patch 008),
	 * not through a devicetree compatible, and the vendor per-PHY firmware
	 * patch load is a driver TODO (TARGET-DESIGN.md 6.2, 7.1).
	 * The seven resets are the MDIO bus reset, the global PHY reset and the
	 * five per-PHY resets; the driver releases them after enabling the bus
	 * clock and before the bus is scanned.
	 * NEEDS-VERIFICATION: the PHY addresses 2..5 are the vendor runtime
	 * mapping; PHY address 1 is not used by the vendor and is not modelled.
	 */
	mdio0: mdio@14000000 {
		compatible = "hisilicon,luofu-mdio";
		reg = <0x14000000 0x1000>;
		#address-cells = <1>;
		#size-cells = <0>;
		clocks = <&crg LUOFU_CLK_MDIO>;
		resets = <&crg 0x30 0x6>,	/* mdio */
			 <&crg 0x30 0x1a>,	/* gephyall */
			 <&crg 0x30 0x1b>,	/* gephy0 */
			 <&crg 0x30 0x1c>,	/* gephy1 */
			 <&crg 0x30 0x1d>,	/* gephy2 */
			 <&crg 0x30 0x1e>,	/* gephy3 */
			 <&crg 0x30 0x1f>;	/* gephy4 */
		reset-names = "mdio", "gephyall", "gephy0", "gephy1",
			      "gephy2", "gephy3", "gephy4";
		status = "okay";

		phy2: ethernet-phy@2 {
			compatible = "ethernet-phy-ieee802.3-c22";
			reg = <2>;
			max-speed = <1000>;
		};
		phy3: ethernet-phy@3 {
			compatible = "ethernet-phy-ieee802.3-c22";
			reg = <3>;
			max-speed = <1000>;
		};
		phy4: ethernet-phy@4 {
			compatible = "ethernet-phy-ieee802.3-c22";
			reg = <4>;
			max-speed = <1000>;
		};
		phy5: ethernet-phy@5 {
			compatible = "ethernet-phy-ieee802.3-c22";
			reg = <5>;
			max-speed = <1000>;
		};
	};

	/* ---- thermal: sensor + zone (patch 012) ------------------------ */

	/*
	 * Temperature sensor. The die temperature is the low 16 bits of the
	 * word at offset 0x24, converted by the driver with the vendor v4
	 * formula (decoded and numerically verified). The vendor devicetree
	 * declares a 0x14-byte reg for a driver that reads +0x24, so the
	 * window is widened here to the containing 0x100-byte register block:
	 * a reg shorter than 0x28 would not cover the register the driver
	 * uses.
	 * Binding: Documentation/devicetree/bindings/thermal/
	 *          hisilicon,luofu-tvsensor.yaml
	 * The node is enabled: the vendor kernel registers and polls this
	 * exact block, so the read path is not unknown hardware - but no
	 * threshold, interrupt, enable or trim register has been decoded,
	 * and the driver writes no register at all. The vendor interrupt
	 * (SPI 0) is deliberately not claimed: without a threshold model
	 * there is nothing to service, and the zone polls instead.
	 * TODO(hw): whether the block needs a clock gate or a reset from
	 * Linux is unverified; the vendor devicetree has neither.
	 */
	tvsensor: thermal-sensor@14900500 {
		compatible = "hisilicon,luofu-tvsensor";
		reg = <0x14900500 0x100>;
		#thermal-sensor-cells = <0>;
		status = "okay";
	};

	thermal-zones {
		/*
		 * One zone for the single on-die sensor. The vendor tree calls
		 * it "cls0"; the node name adds the binding-required "-thermal"
		 * suffix. The trips are the vendor values (115 C passive, 125 C
		 * critical, 3 C hysteresis); they are vendor policy data, not a
		 * measurement made on this board, and no cooling device is mapped
		 * yet. The vendor cooling map points at its network rate-limiting
		 * cooling device, whose LSW/CAR model does not exist in this tree,
		 * so v1 keeps the zone and trips without cooling-maps. The vendor
		 * sustainable-power value is likewise omitted: its units are
		 * unverified and it is only consumed by the power_allocator
		 * governor, which no cooling device here could use. The vendor
		 * trip-point@0/@2 numbering becomes trip-point0/1: node names
		 * have no meaning beyond uniqueness and trip-point@1 was absent.
		 */
		cls0: cls0-thermal {
			polling-delay = <1000>;
			thermal-sensors = <&tvsensor>;

			trips {
				trip-point0 {
					temperature = <115000>;
					hysteresis = <3000>;
					type = "passive";
				};

				trip-point1 {
					temperature = <125000>;
					hysteresis = <3000>;
					type = "critical";
				};
			};
		};
	};

	/* ---- PCIe: two DWC root complexes (patch 013) ------------------ */

	/*
	 * Two DesignWare-based root complexes. Binding:
	 * Documentation/devicetree/bindings/pci/hisilicon,luofu-pcie.yaml
	 * and driver drivers/pci/controller/dwc/pcie-luofu.c (patch 013).
	 *
	 * HARD RULE: the "misc" window (RC0 0x10161000, RC1 0x10165000) is
	 * write-only and MUST NEVER BE READ at runtime - a read-only devmem
	 * there panicked the box. The driver writes the recorded root-complex
	 * mode and LTSSM-enable words there and observes link state through
	 * the DBI (DEBUG0/DEBUG1, Link Status) instead.
	 *
	 * HARD RULE: the DBI and configuration windows answer only
	 * 4-byte-aligned 32-bit accesses; the driver's accessors comply.
	 *
	 * The dbi/misc/config windows are declared here. The memory and I/O
	 * outbound windows are expressed by "ranges" (the driver derives the
	 * iATU viewports from it); the measured vendor iATU plan - viewport 0
	 * CFG0 config window to bus 0, viewport 1 MEM 0x40000000 to
	 * 0x40000000, viewport 2 IO 0x48000000 to 0x48000000 (RC1:
	 * 0x68000000/0x58000000/0x60000000) - matches these ranges. The vendor
	 * iatu_rc/iatu_ep tables and the acp-gate bits (0x10100174 bit 25/26)
	 * are driver/SoC init data, not devicetree ABI.
	 *
	 * The nodes stay DISABLED: the device write path (misc mode/LTSSM, DBI
	 * setup, iATU writes) has never been measured on this board. The reset
	 * polarity is settled (active-low 0x34 bits; the first CRG driver
	 * revision was inverted and patch 014 fixes it), so once the write path
	 * is validated in an attended hardware run these nodes can be enabled.
	 *
	 * The Wi-Fi endpoints are the vendor 59e7:0005 functions; their driver
	 * is vendor-only and out of scope ([X]). They are documented as
	 * disabled child nodes (the PCI core enumerates them from config
	 * space; no mainline driver binds them).
	 */
	pcie0: pcie@10160000 {
		compatible = "hisilicon,luofu-pcie";
		device_type = "pci";
		#address-cells = <3>;
		#size-cells = <2>;
		linux,pci-domain = <0>;
		reg = <0x10160000 0x1000>,	/* dbi */
		      <0x10161000 0x3000>,	/* misc - NEVER READ */
		      <0x50000000 0x1000>;	/* config window */
		reg-names = "dbi", "misc", "config";
		ranges = <0x02000000 0x0 0x40000000 0x40000000 0x0 0x2000000>,
			 <0x01000000 0x0 0x48000000 0x48000000 0x0 0x800000>;
		bus-range = <0 0xa>;
		interrupts = <0 0x3b 4>,	/* radm, SPI 59 */
			     <0 0x45 4>;	/* linkdown, SPI 69 */
		interrupt-names = "radm", "linkdown";
		clocks = <&crg LUOFU_CLK_PCIE0>;
		clock-names = "pcie";
		resets = <&crg 0x34 0xc>, <&crg 0x34 0xd>,
			 <&crg 0x34 0xe>, <&crg 0x34 0xf>;
		reset-names = "apb", "pcs", "phy", "ctrl";
		num-lanes = <1>;		/* measured Link Cap: x1 */
		status = "disabled";

		wifi@0,0 {
			compatible = "pci59e7,0005";
			reg = <0x00000000 0x0 0x0 0x0 0x0>;
			status = "disabled";
		};
	};

	pcie1: pcie@10164000 {
		compatible = "hisilicon,luofu-pcie";
		device_type = "pci";
		#address-cells = <3>;
		#size-cells = <2>;
		linux,pci-domain = <1>;
		reg = <0x10164000 0x1000>,	/* dbi */
		      <0x10165000 0x3000>,	/* misc - NEVER READ */
		      <0x68000000 0x1000>;	/* config window */
		reg-names = "dbi", "misc", "config";
		ranges = <0x02000000 0x0 0x58000000 0x58000000 0x0 0x2000000>,
			 <0x01000000 0x0 0x60000000 0x60000000 0x0 0x800000>;
		bus-range = <0 0xa>;
		interrupts = <0 0x3f 4>,	/* radm, SPI 63 */
			     <0 0x46 4>;	/* linkdown, SPI 70 */
		interrupt-names = "radm", "linkdown";
		clocks = <&crg LUOFU_CLK_PCIE1>;
		clock-names = "pcie";
		resets = <&crg 0x34 0x10>, <&crg 0x34 0x11>,
			 <&crg 0x34 0x12>, <&crg 0x34 0x13>;
		reset-names = "apb", "pcs", "phy", "ctrl";
		num-lanes = <1>;		/* measured Link Cap: x1 */
		status = "disabled";

		wifi@0,0 {
			compatible = "pci59e7,0005";
			reg = <0x00000000 0x0 0x0 0x0 0x0>;
			status = "disabled";
		};
	};

	/* ---- absent nodes, on purpose ---------------------------------- */

	/*
	 * LEDs / keys: NOT in the lab DTS; the vendor board overlay (board_id=3)
	 * adds gpio-keys-polled (reset gpio 0x16, wps gpio 0x17, poll 20 ms) and
	 * gpio-leds (oem:green:{status,wan,lan,internet,wifi,wifi5g});
	 * gpio 0x1c appears in the overlay's pcie-gpios (vendor-dt-notes.md 8).
	 * Those are overlay evidence, not board schematics: add standard
	 * gpio-keys-polled / gpio-leds nodes only once the GPIO numbering,
	 * polarity and board names are confirmed; TARGET-DESIGN.md 6.2 lists
	 * both as free bindings.
	 *
	 * sysctrl / sysenv: the minimum SYSCTRL syscon node the restart driver
	 * uses is modelled above (0x10100000, boot selector at 0xc08, patch 010).
	 * The vendor "hsan,sysenv"/"hsan,rstinfo" interface is NOT modelled: the
	 * A/B selector protocol is still [U] (values 0x10 = A pair, 0x11 = B pair
	 * per the loader's own print; a manual B write used 0x21; the A-side
	 * handover value is NOT established), and a sysupgrade read path needs an
	 * nvmem provider plus one attended A/B validation (TARGET-DESIGN.md 3.4,
	 * 6.2, 7.1). Do not invent the rest here.
	 *
	 * efuse / RNG / LED PWM / PMU PWM / clk-corrector / net-cdev / woe_*:
	 * vendor "hsan,*" blocks in the pinned tree; not needed for a
	 * wired-first first submission, and unused blocks must not get invented
	 * bindings (TARGET-DESIGN.md 6.2). The MAC address source is [U] - the
	 * efuse/nvmem question depends on it (TARGET-DESIGN.md 12 item 5).
	 *
	 * Wi-Fi (Hi5622V100): PCIe endpoints with a vendor-binary, non-mac80211
	 * driver over a closed firmware blob. Out of the first submission scope
	 * (TARGET-DESIGN.md 8.3). No node.
	 */
};
